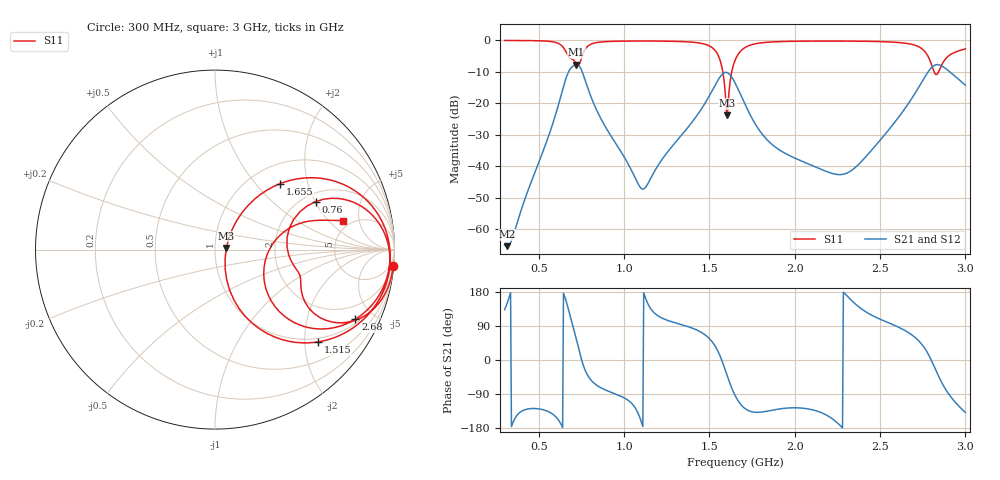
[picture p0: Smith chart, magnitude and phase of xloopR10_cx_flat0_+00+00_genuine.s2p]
! xloopR10_cx_flat0_+00+00_genuine, gap C 0.80 pF
! simulated by sim/fixtures_fdtd.py (S12 = S21, S22 not computed)
# HZ S RI R 50
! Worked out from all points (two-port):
!   541 points, 300 MHz to 3 GHz, reference 50 ohm
!   highest |S21| = -7.67 dB at 720 MHz (marker M1); lowest = -65.4 dB at 315 MHz (marker M2)
!   |S21| within 3 dB of the highest: 669.1 MHz to 759.5 MHz (90.4 MHz wide, 12.7 % of centre); 2.773 GHz to 2.924 GHz (150.4 MHz wide, 5.28 % of centre) (the widest 2 of 3)
!   lowest |S11| = -23.8 dB at 1.605 GHz (marker M3), VSWR 1.14, Z = 56.8 + j1.09 ohm
!   |S11| at or under -10 dB: 1.578 GHz to 1.631 GHz (52.48 MHz wide, 3.27 % of centre); 2.817 GHz to 2.843 GHz (25.25 MHz wide, 0.892 % of centre)
!   |S22| runs from - to - dB; largest |S21 - S12| = 0
!   S11 on the Smith chart (normalised r, x): 300 MHz: 0, -21; 760 MHz: 2.32, +2.02; 1.515 GHz: 0.91, -2.31; 1.655 GHz: 1.36, +1.36; 2.68 GHz: 1.21, -3.93; 3 GHz: 4.31, +3.03
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3e8  0.994 -0.0934  -0.00038 0.00041  -0.00038 0.00041  0 0
3.15e8  0.9932 -0.0994  -0.000465 0.000271  -0.000465 0.000271  0 0
5.7e8  0.9132 -0.298  -0.0287 -0.0246  -0.0287 -0.0246  0 0
6.65e8  0.5245 -0.3278  -0.2342 0.1431  -0.2342 0.1431  0 0
7.2e8  0.4249 -0.0644  0.2303 0.3435  0.2303 0.3435  0 0
7.5e8  0.4731 0.211  0.3398 0.0151  0.3398 0.0151  0 0
7.6e8  0.5601 0.2673  0.2834 -0.0629  0.2834 -0.0629  0 0
8.45e8  0.919 0.1379  0.0269 -0.0672  0.0269 -0.0672  0 0
1.095e9  0.9735 -0.093  -0.0042 -0.00193  -0.0042 -0.00193  0 0
1.2e9  0.9626 -0.1584  -0.0046 0.00935  -0.0046 0.00935  0 0
1.515e9  0.5755 -0.5141  0.1034 0.1175  0.1034 0.1175  0 0
1.565e9  0.2081 -0.4109  0.2662 0.0376  0.2662 0.0376  0 0
1.605e9  0.0635 0.00958  0.2276 -0.2061  0.2276 -0.2061  0 0
1.65e9  0.3269 0.3517  -0.0116 -0.2116  -0.0116 -0.2116  0 0
1.655e9  0.3627 0.3675  -0.026 -0.1974  -0.026 -0.1974  0 0
1.835e9  0.9134 0.1881  -0.0191 -0.0189  -0.0191 -0.0189  0 0
2.1e9  0.975 -0.0166  -0.00679 -0.0078  -0.00679 -0.0078  0 0
2.31e9  0.9673 -0.1196  -0.0077 0.00172  -0.0077 0.00172  0 0
2.55e9  0.91 -0.2612  -0.00532 0.0374  -0.00532 0.0374  0 0
2.68e9  0.7825 -0.3872  0.0419 0.1052  0.0419 0.1052  0 0
2.82e9  0.2714 -0.138  0.379 -0.1382  0.379 -0.1382  0 0
3e9  0.7158 0.1618  -0.1451 -0.1293  -0.1451 -0.1293  0 0
